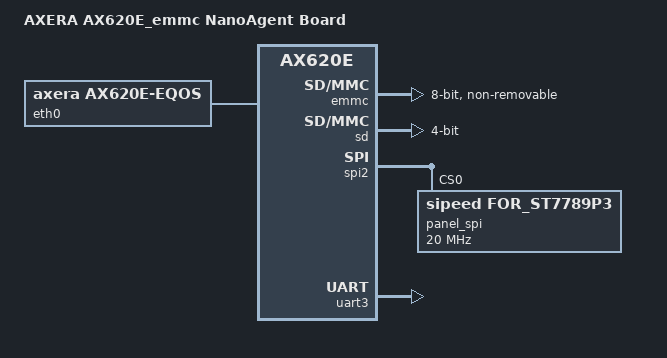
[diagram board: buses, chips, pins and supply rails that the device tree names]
/*
 * (C) Copyright 2020 AXERA Co., Ltd
 *
 * SPDX-License-Identifier:     GPL-2.0
 */

/dts-v1/;
#include <dt-bindings/pwm/pwm.h>
#include "ax620e.dtsi"

/ {
	model = "AXERA AX620E_emmc NanoAgent Board";
	compatible = "AXERA,AX620E", "axera,ax620e";

	chosen {
		stdout-path = &uart3;
	};

	emmc: mmc@1B40000 {
		compatible = "axera,ax620e-sdhc";
		reg = <0x0 0x1B40000 0x0 0x1000>;
		interrupts = <0 9 4>;
		bus-width = <8>;
		sdhci-caps-mask = <0x2 0x03200000>;
		sdhci-caps = <0x0 0x00040000>;
		non-removable;
		cdns,phy-input-delay-sd-highspeed = <2>;
		cdns,phy-input-delay-legacy = <4>;
		cdns,phy-input-delay-sd-uhs-sdr12 = <1>;
		cdns,phy-input-delay-sd-uhs-sdr25 = <2>;
		cdns,phy-input-delay-sd-uhs-sdr50 = <1>;
		cdns,phy-input-delay-sd-uhs-ddr50 = <2>;
		cdns,phy-input-delay-mmc-legacy = <1>;
		cdns,phy-input-delay-mmc-highspeed = <2>;
		cdns,phy-input-delay-mmc-ddr = <2>;
		cdns,phy-dll-delay-sdclk = <0>;
		cdns,phy-dll-delay-sdclk-hsmmc = <23>;
		cdns,phy-dll-delay-strobe = <18>;
		status = "okay";
	};

	sd: mmc@104E0000 {
		compatible = "axera,ax620e-sdhc";
		reg = <0x0 0x104E0000 0x0 0x1000>;
		interrupts = <0 74 4>;

		bus-width = <4>;
		cap-sd-highspeed;
		/*sd-uhs-sdr12;
		sd-uhs-sdr25;
		sd-uhs-sdr50;*/
		no-sdio;
		no-mmc;
		disable-wp;
		no-1-8-v;
		broken-cd;

		cdns,phy-input-delay-sd-highspeed = <2>;
		cdns,phy-input-delay-legacy = <3>;
		cdns,phy-input-delay-sd-uhs-sdr12 = <3>;
		cdns,phy-input-delay-sd-uhs-sdr25 = <2>;
		cdns,phy-input-delay-sd-uhs-sdr50 = <0>;
		cdns,phy-input-delay-sd-uhs-ddr50 = <0>;
		cdns,phy-dll-delay-sdclk = <0>;

		status = "okay";
	};

	eth0: ethernet@0x104C0000{
		compatible = "axera,ax620e-eqos";
		status = "okay";
	};
};

&spi2 {
	cs-gpio = <&port1a 27 0>;
    status = "okay";

	panel_spi@0 {
		compatible = "sipeed,for_st7789p3";
		spi-tx-bus-width = <1>;
		spi-rx-bus-width = <1>;
		spi-max-frequency = <20000000>;
		reg = <0>;    /*SPI channel 0*/
		/* spi_addr delay cmd_len cmd data */
		panel-init-seq = [
			FF 78 01 11
			FF 00 02 3A 05
			FF 00 06 B2 0C 0C 00 33 33
			FF 00 01 20
			FF 00 02 B7 05
			FF 00 02 BB 21
			FF 00 02 C0 2C
			FF 00 02 C2 01
			FF 00 02 C3 15
			FF 00 02 C6 0F
			FF 00 02 D0 A7
			FF 00 03 D0 A4 A1
			FF 00 02 D6 A1
			FF 00 0F E0 F0 05 0E 08 0A 17 39 54 4E 37 12 12 31 37
			FF 00 0F E1 F0 10 14 0D 0B 05 39 44 4D 38 14 14 2E 35
			FF 00 04 E4 23 00 00
			FF 00 01 21
			FF 00 01 29
		];
		dc = <1 19 1>;
		rst = <0 31 0>;
		bl = <0 30 1>;
	};
};

&uart3 {
	status = "okay";
};
